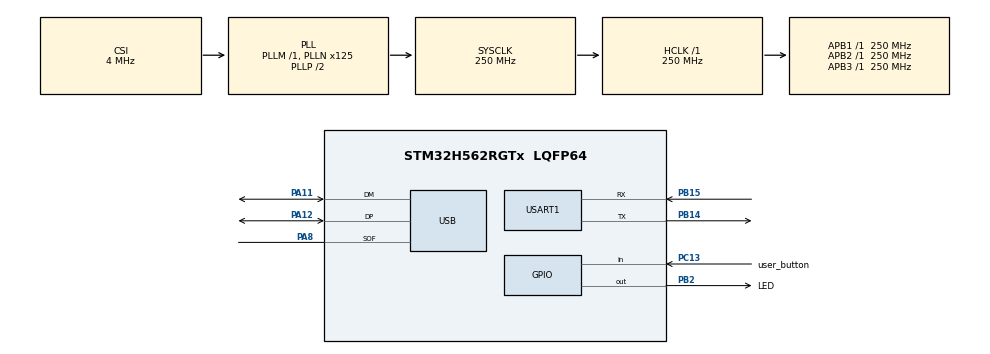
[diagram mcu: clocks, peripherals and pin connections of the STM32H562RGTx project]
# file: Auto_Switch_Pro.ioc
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CORTEX_M33_NS.userName=CORTEX_M33
Mcu.Family=STM32H5
Mcu.Name=STM32H562RGTx
Mcu.Package=LQFP64
NVIC.PriorityGroup=NVIC_PRIORITYGROUP_4
NVIC.USART1_IRQn=true\:0\:0\:false\:false\:true\:true\:true\:true
NVIC.USB_DRD_FS_IRQn=true\:0\:0\:false\:false\:true\:true\:true\:true
PA11.Mode=Device
PA11.Signal=USB_DM
PA12.Mode=Device
PA12.Signal=USB_DP
PA8.Mode=Activate_SOF_FS
PA8.Signal=USB_SOF
PB14.Mode=Asynchronous
PB14.Signal=USART1_TX
PB15.Mode=Asynchronous
PB15.Signal=USART1_RX
PB2.GPIO_Label=LED
PB2.Signal=GPIO_Output
PC13.GPIO_Label=user_button
PC13.Signal=GPIO_Input
PH0-OSC_IN(PH0).Mode=HSE-External-Oscillator
PH0-OSC_IN(PH0).Signal=RCC_OSC_IN
PH1-OSC_OUT(PH1).Mode=HSE-External-Oscillator
PH1-OSC_OUT(PH1).Signal=RCC_OSC_OUT
ProjectManager.HeapSize=0x200
ProjectManager.StackSize=0x2000
ProjectManager.TargetToolchain=STM32CubeIDE
RCC.ADCFreq_Value=250000000
RCC.AHBFreq_Value=250000000
RCC.APB1Freq_Value=250000000
RCC.APB1TimFreq_Value=250000000
RCC.APB2Freq_Value=250000000
RCC.APB2TimFreq_Value=250000000
RCC.APB3Freq_Value=250000000
RCC.CSI_VALUE=4000000
RCC.CortexFreq_Value=250000000
RCC.EPOD_VALUE=4000000
RCC.HCLKFreq_Value=250000000
RCC.HSE_VALUE=8000000
RCC.HSI48_VALUE=48000000
RCC.HSI_VALUE=64000000
RCC.LSE_VALUE=32768
RCC.LSIRC_VALUE=32000
RCC.PLL2FRACN=0
RCC.PLL3FRACN=0
RCC.PLLFRACN=0
RCC.PLLN=125
RCC.SYSCLKFreq_VALUE=250000000
RCC.SYSCLKSource=RCC_SYSCLKSOURCE_PLLCLK
RCC.USBFreq_Value=48000000
RCC.VCOOutputFreq_Value=500000000
USART1.VirtualMode-Asynchronous=VM_ASYNC
USB.VirtualMode=Device_Only
VP_BOOTPATH_VS_BOOTPATH.Mode=BP_Activate
VP_CORTEX_M33_NS_VS_Hclk.Mode=Hclk_Mode
VP_MEMORYMAP_VS_MEMORYMAP.Mode=CurAppReg
VP_PWR_VS_LPOM.Mode=PowerOptimisation
VP_PWR_VS_SECSignals.Mode=Security/Privilege
board=custom

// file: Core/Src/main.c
/* USER CODE BEGIN Header */
/**
  ******************************************************************************
  * @file           : main.c
  * @brief          : Main program body
  ******************************************************************************
  * @attention
  *
  * Copyright (c) 2026 STMicroelectronics.
  * All rights reserved.
  *
  * This software is licensed under terms that can be found in the LICENSE file
  * in the root directory of this software component.
  * If no LICENSE file comes with this software, it is provided AS-IS.
  *
  ******************************************************************************
  */
/* USER CODE END Header */
#include "main.h"
#include "usart.h"
#include "usb.h"
#include "gpio.h"

/* USER CODE BEGIN Includes */
#include "tusb.h"
#include "usb_descriptors.h"
#include "debug_uart.h"
#include <string.h>
#include <stdlib.h>
/* USER CODE END Includes */

void SystemClock_Config(void);

/* USER CODE BEGIN 0 */

// ---- UART Command Protocol ----
#define CMD_START 0xAA

// UART RX state machine — runs entirely in ISR for zero-latency re-arm
typedef enum { RX_WAIT_START, RX_WAIT_CMD, RX_WAIT_LF } rx_state_t;
static volatile rx_state_t rx_state = RX_WAIT_START;
static uint8_t    rx_byte;

// Command received from ISR, processed in main loop
static volatile uint8_t pending_cmd = 0;  // 'R', 'P', or 0 (none)

// Reset macro state: buttons for 500ms, then idle for 1500ms, then resume A
static volatile bool     reset_active = false;
static volatile uint32_t reset_start_ms = 0;
#define RESET_ABXY_MS   500   // hold all buttons (title screen reset)
static volatile uint32_t reset_pause_ms = 2000;  // randomized 2000-4000ms each reset

// Lightweight xorshift32 PRNG for randomizing A-press intervals
static uint32_t rng_state = 1;
static uint32_t xorshift32(void) {
    uint32_t x = rng_state;
    x ^= x << 13;
    x ^= x >> 17;
    x ^= x << 5;
    rng_state = x;
    return x;
}
// Returns a random value in [min, max] inclusive
static uint32_t rand_range(uint32_t min, uint32_t max) {
    return min + (xorshift32() % (max - min + 1));
}

static void send_ack(void) {
    uint8_t ack[] = { CMD_START, 'K', '\n' };
    HAL_UART_Transmit(&huart1, ack, 3, 10);
}

// Called from UART RX complete ISR — parse + re-arm immediately
void HAL_UART_RxCpltCallback(UART_HandleTypeDef *huart) {
    if (huart->Instance != USART1) return;

    switch (rx_state) {
    case RX_WAIT_START:
        if (rx_byte == CMD_START) {
            rx_state = RX_WAIT_CMD;
        }
        break;

    case RX_WAIT_CMD:
        if (rx_byte == 'R' || rx_byte == 'P') {
            pending_cmd = rx_byte;
        }
        rx_state = RX_WAIT_LF;
        break;

    case RX_WAIT_LF:
        rx_state = RX_WAIT_START;
        break;
    }

    // Re-arm immediately — no gap between bytes
    HAL_UART_Receive_IT(&huart1, &rx_byte, 1);
}

// Start listening for one byte (non-blocking, interrupt-driven)
static void uart_listen(void) {
    HAL_UART_Receive_IT(&huart1, &rx_byte, 1);
}

// Process pending commands in main loop (debug prints + ACK)
static void uart_poll(void) {
    uint8_t cmd = pending_cmd;
    if (cmd == 0) return;
    pending_cmd = 0;

    switch (cmd) {
    case 'R':
        reset_active = true;
        reset_start_ms = HAL_GetTick();
        reset_pause_ms = rand_range(2000, 4000);
        send_ack();
        debug_println("[CMD] RESET");
        break;
    case 'P':
        send_ack();
        debug_println("[CMD] PING");
        break;
    }
}

/* USER CODE END 0 */

int main(void)
{

  /* MCU Configuration--------------------------------------------------------*/

  /* Reset of all peripherals, Initializes the Flash interface and the Systick. */
  HAL_Init();

  /* Configure the system clock */
  SystemClock_Config();

  /* Initialize all configured peripherals */
  MX_GPIO_Init();
  MX_USB_PCD_Init();
  MX_USART1_UART_Init();
  /* USER CODE BEGIN 2 */

  // Debug UART (USART1 on PB14/PB15, initialized by CubeMX above)
  debug_init(&huart1);
  debug_println("=== Auto Switch Pro boot ===");

  // LED on at boot (PB2, active-low)
  HAL_GPIO_WritePin(LED_GPIO_Port, LED_Pin, GPIO_PIN_RESET);

  // Enable CRS to trim HSI48 using USB SOF for accurate 48 MHz
  __HAL_RCC_CRS_CLK_ENABLE();
  RCC_CRSInitTypeDef crs = {0};
  crs.Prescaler             = RCC_CRS_SYNC_DIV1;
  crs.Source                = RCC_CRS_SYNC_SOURCE_USB;
  crs.Polarity              = RCC_CRS_SYNC_POLARITY_RISING;
  crs.ReloadValue           = RCC_CRS_RELOADVALUE_DEFAULT;
  crs.ErrorLimitValue       = RCC_CRS_ERRORLIMIT_DEFAULT;
  crs.HSI48CalibrationValue = RCC_CRS_HSI48CALIBRATION_DEFAULT;
  HAL_RCCEx_CRSConfig(&crs);

  // Initialize TinyUSB (resets USB peripheral, opens EP0, enables D+ pull-up + NVIC)
  tusb_init();

  // Soft-reconnect: pull D+ low, wait, then re-assert.
  // The STM32H5 boots so fast that D+ goes high almost instantly after VBUS.
  // Strict USB hosts (like the Switch dock) need to see a clean transition.
  tud_disconnect();
  HAL_Delay(1000);
  tud_connect();

  debug_println("USB connected, waiting for host...");

  // Enable USART1 interrupt (CubeMX didn't enable it in NVIC)
  HAL_NVIC_SetPriority(USART1_IRQn, 1, 0);
  HAL_NVIC_EnableIRQ(USART1_IRQn);

  // Start non-blocking UART receive for command protocol
  uart_listen();
  /* USER CODE END 2 */

  /* Infinite loop */
  while (1)
  {

    /* USER CODE BEGIN 3 */
    // LED heartbeat: toggle every 500ms so we know firmware is alive
    {
      static uint32_t led_last = 0;
      uint32_t t = HAL_GetTick();
      if (t - led_last >= 500) {
        led_last = t;
        HAL_GPIO_TogglePin(LED_GPIO_Port, LED_Pin);
      }
    }

    tud_task();

    // Service any queued protocol responses (handshake, subcommand replies)
    extern bool switch_pro_send_queued(void);
    switch_pro_send_queued();

    // Poll UART command protocol (non-blocking)
    uart_poll();

    // Physical user button (PC13, active-low) triggers reset macro
    {
      static uint32_t btn_debounce = 0;
      static bool btn_last = false;
      bool btn_now = (HAL_GPIO_ReadPin(user_button_GPIO_Port, user_button_Pin) == GPIO_PIN_RESET);
      if (btn_now && !btn_last && (HAL_GetTick() - btn_debounce > 200)) {
        btn_debounce = HAL_GetTick();
        reset_active = true;
        reset_start_ms = HAL_GetTick();
        reset_pause_ms = rand_range(2000, 4000);
        debug_println("[BTN] USR pressed -> RESET");
      }
      btn_last = btn_now;
    }

    // Only send 0x30 input reports after handshake is complete
    if (pro_state.reports_enabled) {
      static uint32_t last_report_ms = 0;
      uint32_t now = HAL_GetTick();
      // Send input reports every 8ms (~125 Hz)
      if (tud_hid_ready() && (now - last_report_ms >= 8)) {
        last_report_ms = now;

        switch_pro_report_t report;
        memset(&report, 0, sizeof(report));
        report.report_id = REPORT_ID_INPUT_30;
        report.timestamp = pro_state.report_counter++;

        // Battery good, USB connection
        report.input.battery_level = 0x08;
        report.input.connection_info = 0x00;
        report.input.charging = 1;

        // Left stick held up-center, right stick at center (12-bit: 0x7FF = 2047)
        switch_analog_set_xy(&report.input.left_stick,  0x7FF, 0xFFF);
        switch_analog_set_xy(&report.input.right_stick, 0x7FF, 0x7FF);

        // Vibrator report
        report.rumble_report = 0x00;

        // ---- Button automation ----
        static uint32_t phase_start = 0;
        if (phase_start == 0) phase_start = now;
        uint32_t elapsed = now - phase_start;

        if (elapsed < 3000) {
          // First 3 seconds: press L+R to register on Grip/Order screen
          report.input.btn_l = 1;
          report.input.btn_r = 1;
        } else if (reset_active) {
          // Reset macro: ABXY 500ms → idle 1500ms → resume A
          uint32_t reset_elapsed = now - reset_start_ms;
          static bool reset_logged = false;
          // Clear charging flag during reset to avoid any byte confusion
          report.input.charging = 0;
          if (reset_elapsed < RESET_ABXY_MS) {
            // Phase 1: hold A+B+X+Y+L+R+ZL+ZR to force game reset
            report.input.btn_a = 1;
            report.input.btn_b = 1;
            report.input.btn_x = 1;
            report.input.btn_y = 1;
            report.input.btn_l = 1;
            report.input.btn_r = 1;
            report.input.btn_zl = 1;
            report.input.btn_zr = 1;
            if (!reset_logged) {
              uint8_t *raw = (uint8_t *)&report;
              debug_print("[RST] ON  raw=");
              debug_hex8(raw[3]); debug_print(" ");
              debug_hex8(raw[4]); debug_print(" ");
              debug_hex8(raw[5]); debug_print("\r\n");
              reset_logged = true;
            }
          } else if (reset_elapsed < reset_pause_ms) {
            // Phase 2: release all buttons, let title screen load
            // (report already zeroed — no buttons pressed)
          } else {
            // Done — resume normal A presses
            reset_active = false;
            reset_logged = false;
            debug_println("[ABXY] DONE, resuming A");
          }
        } else {
          // Default: press A for 100ms, randomized interval 200-550ms
          static uint32_t a_press_start = 0;
          static uint32_t a_interval = 0;
          static bool     a_initialized = false;
          if (!a_initialized) {
            rng_state = HAL_GetTick() | 1;  // seed PRNG
            a_press_start = now;
            a_interval = rand_range(200, 550);
            a_initialized = true;
          }
          uint32_t a_elapsed = now - a_press_start;
          if (a_elapsed < 100) {
            report.input.btn_a = 1;
          } else if (a_elapsed >= a_interval) {
            // Start next press cycle with a new random interval
            a_press_start = now;
            a_interval = rand_range(200, 550);
            report.input.btn_a = 1;
          }
        }

        tud_hid_report(0, &report, sizeof(report));
      }
    }
  }
  /* USER CODE END 3 */
}

void SystemClock_Config(void)
{
  RCC_OscInitTypeDef RCC_OscInitStruct = {0};
  RCC_ClkInitTypeDef RCC_ClkInitStruct = {0};

  /** Configure the main internal regulator output voltage
  */
  __HAL_PWR_VOLTAGESCALING_CONFIG(PWR_REGULATOR_VOLTAGE_SCALE0);

  while(!__HAL_PWR_GET_FLAG(PWR_FLAG_VOSRDY)) {}

  /** Initializes the RCC Oscillators according to the specified parameters
  * in the RCC_OscInitTypeDef structure.
  */
  RCC_OscInitStruct.OscillatorType = RCC_OSCILLATORTYPE_HSI48|RCC_OSCILLATORTYPE_CSI;
  RCC_OscInitStruct.HSI48State = RCC_HSI48_ON;
  RCC_OscInitStruct.CSIState = RCC_CSI_ON;
  RCC_OscInitStruct.CSICalibrationValue = RCC_CSICALIBRATION_DEFAULT;
  RCC_OscInitStruct.PLL.PLLState = RCC_PLL_ON;
  RCC_OscInitStruct.PLL.PLLSource = RCC_PLL1_SOURCE_CSI;
  RCC_OscInitStruct.PLL.PLLM = 1;
  RCC_OscInitStruct.PLL.PLLN = 125;
  RCC_OscInitStruct.PLL.PLLP = 2;
  RCC_OscInitStruct.PLL.PLLQ = 2;
  RCC_OscInitStruct.PLL.PLLR = 2;
  RCC_OscInitStruct.PLL.PLLRGE = RCC_PLL1_VCIRANGE_2;
  RCC_OscInitStruct.PLL.PLLVCOSEL = RCC_PLL1_VCORANGE_WIDE;
  RCC_OscInitStruct.PLL.PLLFRACN = 0;
  if (HAL_RCC_OscConfig(&RCC_OscInitStruct) != HAL_OK)
  {
    Error_Handler();
  }

  /** Initializes the CPU, AHB and APB buses clocks
  */
  RCC_ClkInitStruct.ClockType = RCC_CLOCKTYPE_HCLK|RCC_CLOCKTYPE_SYSCLK
                              |RCC_CLOCKTYPE_PCLK1|RCC_CLOCKTYPE_PCLK2
                              |RCC_CLOCKTYPE_PCLK3;
  RCC_ClkInitStruct.SYSCLKSource = RCC_SYSCLKSOURCE_PLLCLK;
  RCC_ClkInitStruct.AHBCLKDivider = RCC_SYSCLK_DIV1;
  RCC_ClkInitStruct.APB1CLKDivider = RCC_HCLK_DIV1;
  RCC_ClkInitStruct.APB2CLKDivider = RCC_HCLK_DIV1;
  RCC_ClkInitStruct.APB3CLKDivider = RCC_HCLK_DIV1;

  if (HAL_RCC_ClockConfig(&RCC_ClkInitStruct, FLASH_LATENCY_5) != HAL_OK)
  {
    Error_Handler();
  }

  /** Configure the programming delay
  */
  __HAL_FLASH_SET_PROGRAM_DELAY(FLASH_PROGRAMMING_DELAY_2);
}

void Error_Handler(void)
{
  __disable_irq();
  while (1)
  {
  }
}
